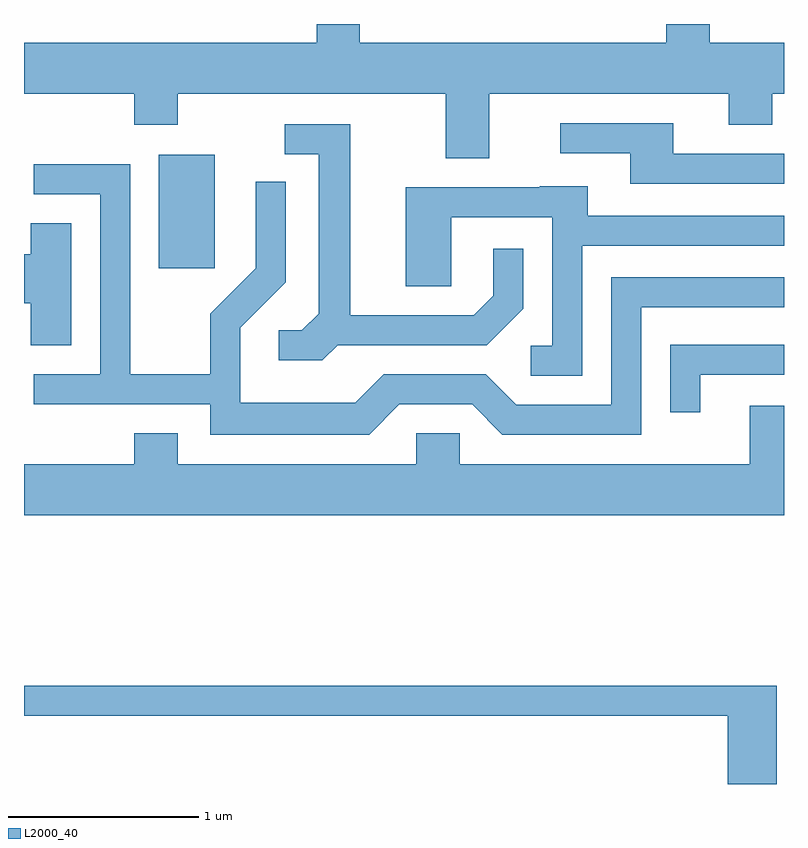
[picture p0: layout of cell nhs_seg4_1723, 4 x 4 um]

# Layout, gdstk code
import gdstk
lib = gdstk.Library(unit=1e-6, precision=1e-09)
def R(c, l, rs):  # rectangles x0, y0, x1, y1
    for r in rs: c.add(gdstk.rectangle(r[:2], r[2:], *l))
def P(c, l, *ps):  # polygons
    for p in ps: c.add(gdstk.Polygon(p, *l))
L2000_40 = (2000, 40)

nhs_seg4_1723 = lib.new_cell('nhs_seg4_1723')
R(nhs_seg4_1723, L2000_40, [(236.321,1302.696,236.614,1303.294)])
P(nhs_seg4_1723, L2000_40, [(238.059,1303.616),(239.321,1303.616),(239.321,1303.451),(239.549,1303.451),(239.549,1303.616),(239.611,1303.616),(239.611,1303.884),(239.219,1303.884),(239.219,1303.982),(238.991,1303.982),(238.991,1303.884),(237.379,1303.884),(237.379,1303.982),(237.151,1303.982),(237.151,1303.884),(235.611,1303.884),(235.611,1303.616),(236.191,1303.616),(236.191,1303.451),(236.419,1303.451),(236.419,1303.616),(237.831,1303.616),(237.831,1303.276),(238.059,1303.276)],
  [(239.611,1303.299),(239.029,1303.299),(239.029,1303.459),(238.433,1303.459),(238.433,1303.301),(238.801,1303.301),(238.801,1303.141),(239.611,1303.141)],
  [(237.262,1302.291),(238.047,1302.291),(238.239,1302.484),(238.239,1302.798),(238.081,1302.798),(238.081,1302.552),(237.979,1302.449),(237.329,1302.449),(237.329,1303.454),(236.983,1303.454),(236.983,1303.296),(237.161,1303.296),(237.161,1302.457),(237.074,1302.369),(236.953,1302.369),(236.953,1302.211),(237.182,1302.211)],
  [(237.587,1301.981),(237.969,1301.981),(238.129,1301.821),(238.859,1301.821),(238.859,1302.491),(239.611,1302.491),(239.611,1302.649),(238.701,1302.649),(238.701,1301.979),(238.202,1301.979),(238.042,1302.139),(237.504,1302.139),(237.354,1301.989),(236.749,1301.989),(236.749,1302.384),(236.989,1302.624),(236.989,1303.153),(236.831,1303.153),(236.831,1302.697),(236.591,1302.457),(236.591,1302.139),(236.169,1302.139),(236.169,1303.244),(235.663,1303.244),(235.663,1303.086),(236.011,1303.086),(236.011,1302.139),(235.663,1302.139),(235.663,1301.981),(236.591,1301.981),(236.591,1301.821),(237.427,1301.821)],
  [(238.549,1302.816),(239.611,1302.816),(239.611,1302.974),(238.579,1302.974),(238.579,1303.129),(238.325,1303.129),(238.325,1303.124),(237.621,1303.124),(237.621,1302.601),(237.859,1302.601),(237.859,1302.966),(238.391,1302.966),(238.391,1302.289),(238.278,1302.289),(238.278,1302.131),(238.549,1302.131)],
  [(235.859,1302.934),(235.646,1302.934),(235.646,1302.769),(235.611,1302.769),(235.611,1302.511),(235.646,1302.511),(235.646,1302.291),(235.859,1302.291)],
  [(239.169,1302.136),(239.611,1302.136),(239.611,1302.294),(239.011,1302.294),(239.011,1301.938),(239.169,1301.938)],
  [(239.611,1301.974),(239.431,1301.974),(239.431,1301.664),(237.904,1301.664),(237.904,1301.829),(237.676,1301.829),(237.676,1301.664),(236.419,1301.664),(236.419,1301.829),(236.191,1301.829),(236.191,1301.664),(235.611,1301.664),(235.611,1301.396),(239.611,1301.396)],
  [(239.574,1300.499),(235.611,1300.499),(235.611,1300.341),(239.316,1300.341),(239.316,1299.982),(239.574,1299.982)])

lib.write_gds('nhs_seg4_1723.gds')
